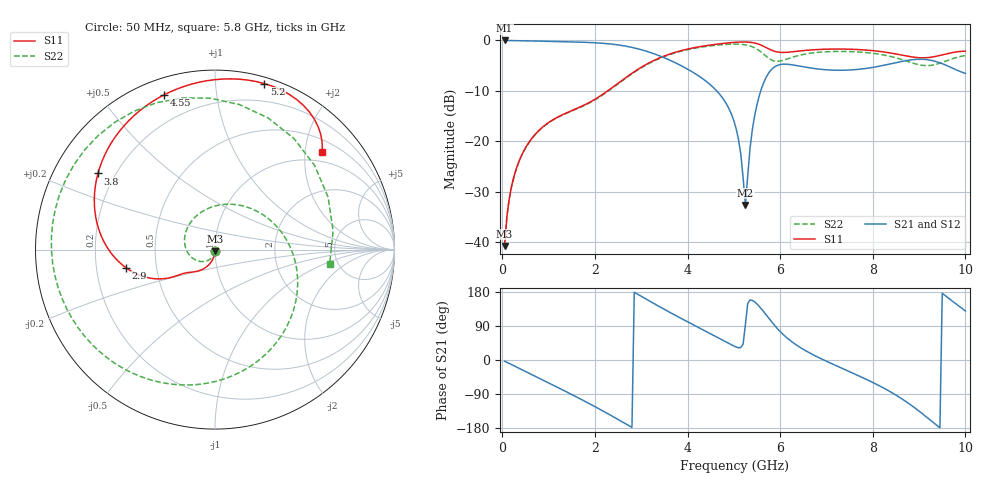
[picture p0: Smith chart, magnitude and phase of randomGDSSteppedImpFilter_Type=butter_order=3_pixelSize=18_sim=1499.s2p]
! freq	dB(S11)	phase(S11)	dB(S12)	phase(S12)
!  dB(S21)	phase(S21)	dB(S22)	phase(S22)
!S-par simulation data
#  GHz  S  DB  R 50
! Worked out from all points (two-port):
!   200 points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, 50 MHz to 10 GHz, reference 50 ohm
!   highest |S21| = -0.01 dB at 50 MHz (marker M1); lowest = -32.6 dB at 5.25 GHz (marker M2)
!   |S21| within 3 dB of the highest: start of sweep to 3.382 GHz
!   lowest |S11| = -40.8 dB at 50 MHz (marker M3), VSWR 1.02, Z = 50 - j0.916 ohm
!   |S11| at or under -10 dB: start of sweep to 2.276 GHz
!   |S22| runs from -40.8 to -0.7 dB; largest |S21 - S12| = 0
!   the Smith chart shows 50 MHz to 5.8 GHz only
!   S11 on the Smith chart (normalised r, x): 50 MHz: 1.00, -0.02; 2.9 GHz: 0.33, -0.09; 3.8 GHz: 0.14, +0.29; 4.55 GHz: 0.07, +0.72; 5.2 GHz: 0.05, +1.34; 5.8 GHz: 0.77, +2.37
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0.05  -40.76 -90.4  -0.01 -3.1  -0.01 -3.1  -40.79 -92.3
0.2  -28.94 -98.1  -0.03 -12.2  -0.03 -12.2  -28.97 -105.6
0.5  -21.32 -110.9  -0.08 -30.3  -0.08 -30.3  -21.36 -130.4
1.75  -12.90 -143.5  -0.36 -106.9  -0.36 -106.9  -12.99 108.3
2.4  -9.17 -152.0  -0.77 -149.9  -0.77 -149.9  -9.28 30.3
2.9  -5.90 -168.6  -1.60 175.1  -1.60 175.1  -6.01 -23.1
3.4  -3.45 167.7  -3.07 140.4  -3.07 140.4  -3.55 -68.8
3.8  -2.18 146.9  -4.71 113.8  -4.71 113.8  -2.28 -101.1
4.55  -0.84 108.2  -9.27 66.0  -9.27 66.0  -1.02 -158.3
5.05  -0.36 81.9  -17.50 34.2  -17.50 34.2  -0.74 154.9
5.2  -0.31 73.4  -27.20 41.8  -27.20 41.8  -0.82 135.7
5.25  -0.31 70.5  -32.62 93.7  -32.62 93.7  -0.89 128.3
5.5  -0.63 55.5  -12.72 147.8  -12.72 147.8  -1.73 80.4
5.8  -1.88 42.2  -5.89 103.2  -5.89 103.2  -3.82 -7.2
6.1  -2.38 36.8  -4.70 63.3  -4.70 63.3  -3.84 -90.2
6.7  -1.86 18.6  -5.52 14.6  -5.52 14.6  -2.48 -170.2
7.65  -1.79 -15.4  -5.77 -39.2  -5.77 -39.2  -2.27 117.7
8.35  -2.44 -37.9  -4.71 -81.8  -4.71 -81.8  -3.10 56.4
8.8  -3.20 -48.0  -3.89 -116.7  -3.89 -116.7  -4.30 -2.7
9.25  -3.34 -52.6  -3.92 -159.2  -3.92 -159.2  -4.95 -86.5
9.65  -2.54 -60.3  -5.19 161.8  -5.19 161.8  -3.86 -159.5
10  -2.13 -73.7  -6.55 129.4  -6.55 129.4  -2.99 152.1
